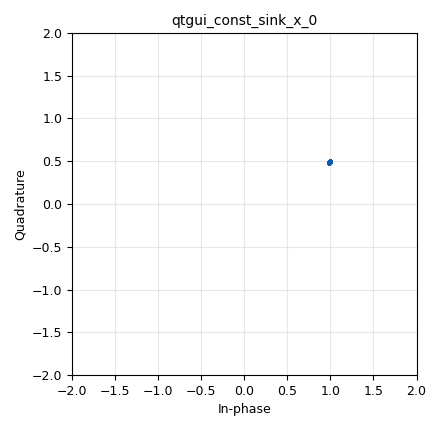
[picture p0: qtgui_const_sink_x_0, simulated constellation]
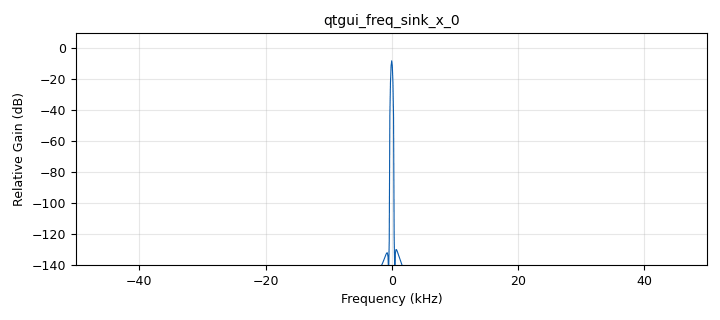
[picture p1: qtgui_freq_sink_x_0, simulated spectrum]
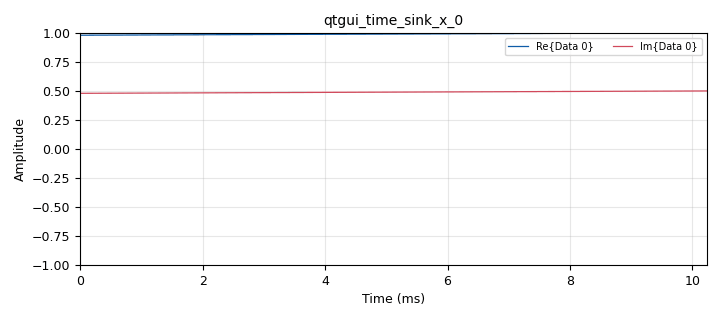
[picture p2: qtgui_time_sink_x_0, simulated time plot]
options:
  parameters:
    author: mmprk
    generate_options: qt_gui
    id: complexPlot
    output_language: python
    title: complexPlot
  states: {}

blocks:
- name: freq
  id: variable_qtgui_range
  parameters:
    start: '-100e3'
    step: '1'
    stop: 100e3
    value: '1'
  states: {}
- name: samp_rate
  id: variable
  parameters:
    value: 100e3
  states: {}
- name: analog_sig_source_x_0
  id: analog_sig_source_x
  parameters:
    amp: '1'
    freq: freq
    offset: '0'
    phase: '0'
    samp_rate: samp_rate
    type: complex
    waveform: analog.GR_COS_WAVE
  states: {state: disabled}
- name: analog_sig_source_x_0_0
  id: analog_sig_source_x
  parameters:
    amp: '1'
    freq: freq
    offset: '0'
    phase: '0'
    samp_rate: samp_rate
    type: complex
    waveform: analog.GR_SQR_WAVE
  states: {state: disabled}
- name: analog_sig_source_x_0_0_0
  id: analog_sig_source_x
  parameters:
    amp: '1'
    freq: freq
    offset: '0'
    phase: '0'
    samp_rate: samp_rate
    type: complex
    waveform: analog.GR_TRI_WAVE
  states: {}
- name: blocks_throttle2_0
  id: blocks_throttle2
  parameters:
    comment: |-
      Throttle blocks are only needed when
       running simulations.
    samples_per_second: samp_rate
    type: complex
  states: {}
- name: qtgui_const_sink_x_0
  id: qtgui_const_sink_x
  parameters:
    size: '1024'
    type: complex
  states: {}
- name: qtgui_freq_sink_x_0
  id: qtgui_freq_sink_x
  parameters:
    bw: samp_rate
    fc: '0'
    fftsize: '1024'
    type: complex
  states: {}
- name: qtgui_time_sink_x_0
  id: qtgui_time_sink_x
  parameters:
    comment: |-
      You can enable the control pannel by going to the
      config tab and checking the box.
    ctrlpanel: 'True'
    size: '1024'
    srate: samp_rate
    type: complex
  states: {}

connections:
- [analog_sig_source_x_0, '0', blocks_throttle2_0, '0']
- [analog_sig_source_x_0_0, '0', blocks_throttle2_0, '0']
- [analog_sig_source_x_0_0_0, '0', blocks_throttle2_0, '0']
- [blocks_throttle2_0, '0', qtgui_const_sink_x_0, '0']
- [blocks_throttle2_0, '0', qtgui_freq_sink_x_0, '0']
- [blocks_throttle2_0, '0', qtgui_time_sink_x_0, '0']

metadata:
  file_format: 1
  grc_version: 3.10.6.0
